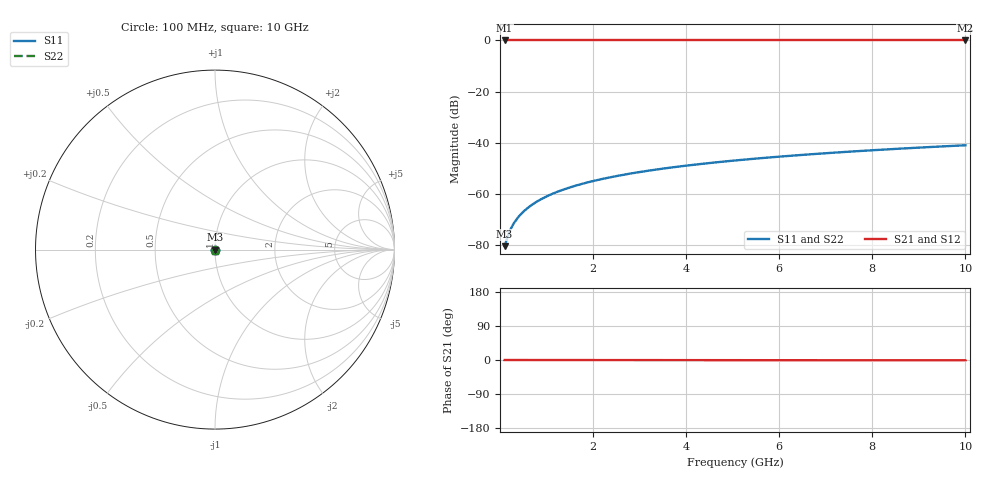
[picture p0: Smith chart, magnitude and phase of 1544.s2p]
# Hz S RI R 50.00
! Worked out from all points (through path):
!   100 points, 100 MHz to 10 GHz, reference 50 ohm
!   highest |S21| = 0.00 dB at 100 MHz (marker M1); lowest = 0.0 dB at 10 GHz (marker M2)
!   lowest |S11| = -80.5 dB at 100 MHz (marker M3), VSWR 1.00, Z = 50 - j0.00889 ohm
!   |S11| at or under -10 dB: start of sweep to end of sweep
!   |S22| runs from -80.5 to -41.0 dB; largest |S21 - S12| = 0
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1e8  3.3e-05 -8.89e-05  1 -0.000145  1 -0.000145  3.3e-05 -8.89e-05
2e8  3.3e-05 -0.000178  1 -0.000291  1 -0.000291  3.3e-05 -0.000178
3e8  3.3e-05 -0.000267  1 -0.000436  1 -0.000436  3.3e-05 -0.000267
4e8  3.3e-05 -0.000356  1 -0.000581  1 -0.000581  3.3e-05 -0.000356
5e8  3.29e-05 -0.000444  1 -0.000726  1 -0.000726  3.29e-05 -0.000444
6e8  3.27e-05 -0.000533  1 -0.000872  1 -0.000872  3.27e-05 -0.000533
7e8  3.25e-05 -0.000622  1 -0.00102  1 -0.00102  3.25e-05 -0.000622
8e8  3.23e-05 -0.000711  1 -0.00116  1 -0.00116  3.23e-05 -0.000711
9e8  3.21e-05 -0.0008  1 -0.00131  1 -0.00131  3.21e-05 -0.0008
1.1e9  3.15e-05 -0.000978  1 -0.0016  1 -0.0016  3.15e-05 -0.000978
1.4e9  3.04e-05 -0.00124  1 -0.00203  1 -0.00203  3.04e-05 -0.00124
1.8e9  2.85e-05 -0.0016  1 -0.00262  1 -0.00262  2.85e-05 -0.0016
2.1e9  2.68e-05 -0.00187  1 -0.00305  1 -0.00305  2.68e-05 -0.00187
2.5e9  2.42e-05 -0.00222  1 -0.00363  1 -0.00363  2.42e-05 -0.00222
2.9e9  2.12e-05 -0.00258  0.9999 -0.00421  0.9999 -0.00421  2.12e-05 -0.00258
3.4e9  1.68e-05 -0.00302  0.9999 -0.00494  0.9999 -0.00494  1.68e-05 -0.00302
4.2e9  8.42e-06 -0.00374  0.9999 -0.00611  0.9999 -0.00611  8.42e-06 -0.00374
5.1e9  -3.01e-06 -0.00454  0.9999 -0.00742  0.9999 -0.00742  -3.01e-06 -0.00454
5.9e9  -1.49e-05 -0.00525  0.9999 -0.00858  0.9999 -0.00858  -1.49e-05 -0.00525
6.7e9  -2.85e-05 -0.00596  0.9999 -0.00975  0.9999 -0.00975  -2.85e-05 -0.00596
8.4e9  -6.3e-05 -0.00748  0.9998 -0.0122  0.9998 -0.0122  -6.3e-05 -0.00748
1e10  -0.000102 -0.00891  0.9998 -0.0146  0.9998 -0.0146  -0.000102 -0.00891
